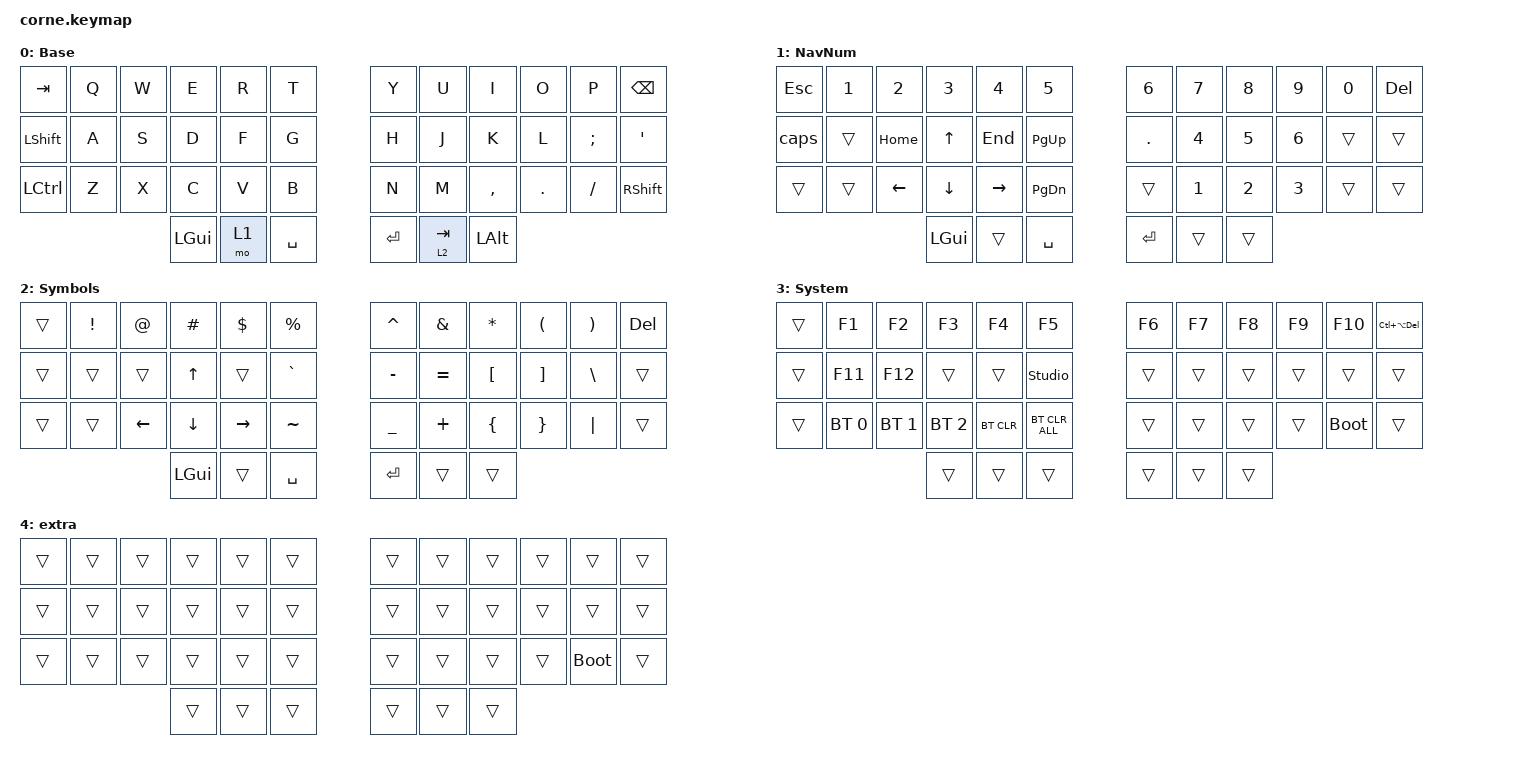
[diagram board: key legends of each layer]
#include <behaviors.dtsi>
#include <dt-bindings/zmk/bt.h>
#include <dt-bindings/zmk/keys.h>

#define DEF 0
#define NAV 1
#define SYM 2
#define ADJ 3
#define EXTRA 4

/ {
    behaviors {
        hm: homerow_mods {
            compatible = "zmk,behavior-hold-tap";
            label = "HOMEROW_MODS";
            #binding-cells = <2>;
            tapping-term-ms = <200>;
            quick_tap_ms = <0>;
            flavor = "tap-preferred";
            bindings = <&kp>, <&kp>;

            quick-tap-ms = <180>;
            global-quick-tap;
        };

        para: para {
            compatible = "zmk,behavior-tap-dance";
            label = "PARA";
            #binding-cells = <0>;
            bindings = <&kp LEFT_PARENTHESIS>, <&kp RIGHT_PARENTHESIS>;
        };

        caps: caps {
            compatible = "zmk,behavior-caps-word";
            label = "CAPS";
            #binding-cells = <0>;
            continue-list = <MINUS BACKSPACE>;
        };

        paraless: paraless {
            compatible = "zmk,behavior-mod-morph";
            label = "PARALESS";
            bindings = <&kp LEFT_PARENTHESIS>, <&kp LESS_THAN>;

            #binding-cells = <0>;
            mods = <(MOD_LSFT)>;
        };

        paragreat: paragreat {
            compatible = "zmk,behavior-mod-morph";
            label = "PARAGREAT";
            bindings = <&kp RIGHT_PARENTHESIS>, <&kp GREATER_THAN>;

            #binding-cells = <0>;
            mods = <(MOD_LSFT)>;
        };
    };

    macros {
        browsertab: browsertab {
            compatible = "zmk,behavior-macro";
            #binding-cells = <0>;
            bindings =
                <&macro_press>,
                <&kp LCTRL>,
                <&macro_tap>,
                <&kp TAB>,
                <&macro_release>,
                <&kp LCTRL>;
        };
    };

    combos {
        compatible = "zmk,combos";

        delete {
            bindings = <&kp DELETE>;
            key-positions = <15 16>;
        };

        perc {
            bindings = <&kp PERCENT>;
            key-positions = <5 17>;
        };

        equals {
            bindings = <&kp EQUAL>;
            key-positions = <28 16>;
        };

        dollar {
            bindings = <&kp DOLLAR>;
            key-positions = <4 16>;
        };

        pound {
            bindings = <&kp POUND>;
            key-positions = <3 15>;
        };

        at {
            bindings = <&kp AT>;
            key-positions = <2 14>;
        };

        backslash {
            bindings = <&kp BACKSLASH>;
            key-positions = <26 14>;
        };

        lbrace {
            bindings = <&kp RIGHT_BRACE>;
            key-positions = <28 27>;
        };

        rbrace {
            bindings = <&kp LEFT_BRACE>;
            key-positions = <26 27>;
        };

        star {
            bindings = <&kp STAR>;
            key-positions = <8 20>;
        };

        slash {
            bindings = <&kp SLASH>;
            key-positions = <32 20>;
        };

        plus {
            bindings = <&kp PLUS>;
            key-positions = <7 19>;
        };

        leftbrack {
            bindings = <&kp LEFT_BRACKET>;
            key-positions = <31 32>;
        };

        rightbrack {
            bindings = <&kp RIGHT_BRACKET>;
            key-positions = <33 32>;
        };

        para-less {
            bindings = <&paraless>;
            key-positions = <20 19>;
        };

        para-great {
            bindings = <&paragreat>;
            key-positions = <20 21>;
        };

        minua {
            bindings = <&kp MINUS>;
            key-positions = <9 21>;
        };

        equal {
            bindings = <&kp EQUAL>;
            key-positions = <10 22>;
        };

        caret {
            bindings = <&kp CARET>;
            key-positions = <6 18>;
        };

        exclamation {
            bindings = <&kp EXCLAMATION>;
            key-positions = <1 13>;
        };
    };

    //

    keymap {
        compatible = "zmk,keymap";

        DEF {
            display-name = "Base";
            bindings = <
&kp TAB    &kp Q  &kp W  &kp E     &kp R  &kp T        &kp Y    &kp U      &kp I         &kp O    &kp P     &kp BACKSPACE
&kp LSHFT  &kp A  &kp S  &kp D     &kp F  &kp G        &kp H    &kp J      &kp K         &kp L    &kp SEMI  &kp SQT
&kp LCTRL  &kp Z  &kp X  &kp C     &kp V  &kp B        &kp N    &kp M      &kp COMMA     &kp DOT  &kp FSLH  &kp RSHFT
                         &kp LGUI  &mo 1  &kp SPACE    &kp RET  &lt 2 TAB  &kp LEFT_ALT
            >;
        };

        NAV {
            display-name = "NavNum";
            bindings = <
&kp ESC  &kp N1  &kp N2    &kp N3        &kp N4           &kp N5           &kp N6   &kp N7  &kp N8  &kp N9  &kp N0  &kp DEL
&caps    &trans  &kp HOME  &kp UP_ARROW  &kp END          &kp PAGE_UP      &kp DOT  &kp N4  &kp N5  &kp N6  &trans  &trans
&trans   &trans  &kp LEFT  &kp DOWN      &kp RIGHT_ARROW  &kp PAGE_DOWN    &trans   &kp N1  &kp N2  &kp N3  &trans  &trans
                           &kp LGUI      &trans           &kp SPACE        &kp RET  &trans  &trans
            >;
        };

        SYM {
            display-name = "Symbols";
            bindings = <
&trans  &kp EXCL  &kp AT          &kp HASH        &kp DLLR         &kp PRCNT    &kp CARET  &kp AMPS   &kp ASTRK  &kp LEFT_PARENTHESIS  &kp RPAR  &kp DEL
&trans  &trans    &trans          &kp UP_ARROW    &trans           &kp GRAVE    &kp MINUS  &kp EQUAL  &kp LBKT   &kp RBKT              &kp BSLH  &trans
&trans  &trans    &kp LEFT_ARROW  &kp DOWN_ARROW  &kp RIGHT_ARROW  &kp TILDE    &kp UNDER  &kp PLUS   &kp LBRC   &kp RBRC              &kp PIPE  &trans
                                  &kp LGUI        &trans           &kp SPACE    &kp RET    &trans     &trans
            >;
        };

        ADJ {
            display-name = "System";
            bindings = <
&trans  &kp F1        &kp F2        &kp F3        &kp F4      &kp F5            &kp F6  &kp F7  &kp F8  &kp F9  &kp F10      &kp LC(LA(DEL))
&trans  &kp F11       &kp F12       &trans        &trans      &studio_unlock    &trans  &trans  &trans  &trans  &trans       &trans
&trans  &bt BT_SEL 0  &bt BT_SEL 1  &bt BT_SEL 2  &bt BT_CLR  &bt BT_CLR_ALL    &trans  &trans  &trans  &trans  &bootloader  &trans
                                    &trans        &trans      &trans            &trans  &trans  &trans
            >;
        };

        EXTRA {
            display-name = "extra";
            bindings = <
&trans  &trans  &trans  &trans  &trans  &trans    &trans  &trans  &trans  &trans  &trans       &trans
&trans  &trans  &trans  &trans  &trans  &trans    &trans  &trans  &trans  &trans  &trans       &trans
&trans  &trans  &trans  &trans  &trans  &trans    &trans  &trans  &trans  &trans  &bootloader  &trans
                        &trans  &trans  &trans    &trans  &trans  &trans
            >;
        };
    };

    conditional_layers {
        compatible = "zmk,conditional-layers";

        l3 {
            if-layers = <1 2>;
            then-layer = <3>;
        };
    };
};
